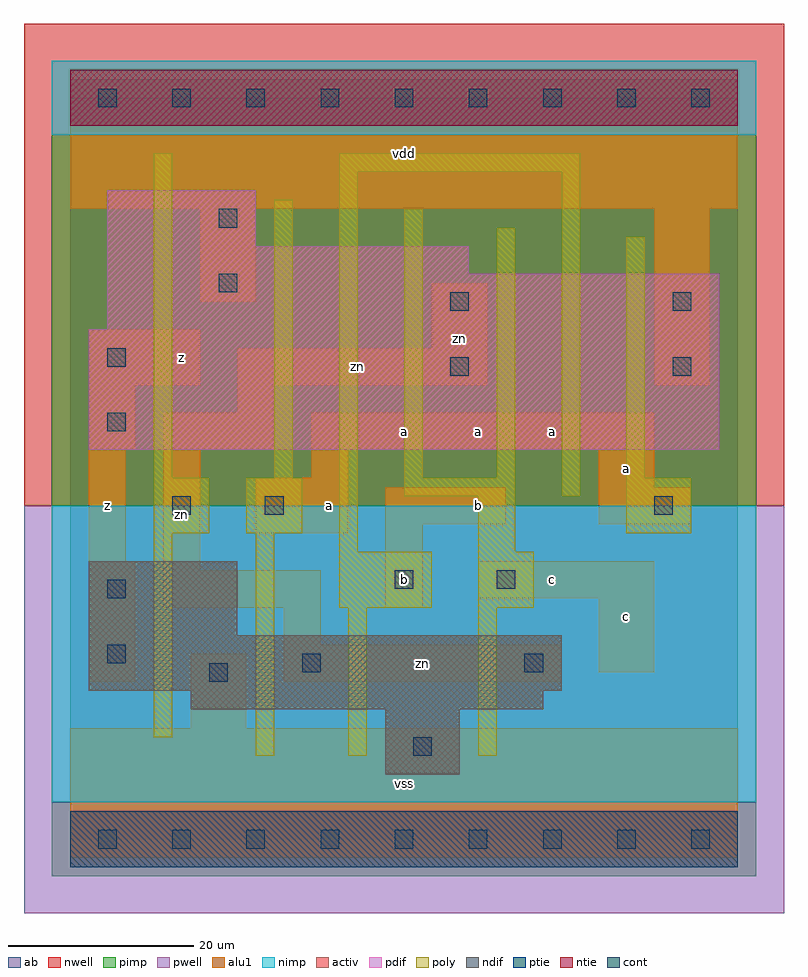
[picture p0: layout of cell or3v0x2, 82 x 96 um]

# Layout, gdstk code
import gdstk
lib = gdstk.Library(unit=1e-6, precision=1e-09)
def R(c, l, rs):  # rectangles x0, y0, x1, y1
    for r in rs: c.add(gdstk.rectangle(r[:2], r[2:], *l))
def A(c, l, x, y, w, h, nx, ny, dx, dy):  # array of equal rectangles
    R(c, l, [(x+i*dx, y+j*dy, x+i*dx+w, y+j*dy+h) for i in range(nx) for j in range(ny)])
ndif = (3, 0)
pdif = (4, 0)
ntie = (5, 0)
ptie = (6, 0)
cont = (25, 0)
pwell = (41, 0)
nwell = (42, 0)
activ = (43, 0)
pimp = (44, 0)
nimp = (45, 0)
poly = (46, 0)
alu1 = (49, 0)
ab = (63, 0)

or3v0x2 = lib.new_cell('or3v0x2')
R(or3v0x2, ndif, [(34,7,42,14), (13,14,51,16), (2,16,53,22), (2,22,18,30)])
R(or3v0x2, pdif, [(2,42,70,55), (4,55,70,61), (4,61,43,64), (4,64,20,70)])
R(or3v0x2, ntie, [(0,77,72,83)])
R(or3v0x2, ptie, [(0,-3,72,3)])
A(or3v0x2, cont, 3, -1, 2, 2, 9, 2, 8, 80)
R(or3v0x2, cont, [(37,9,39,11), (15,17,17,19), (25,18,27,20), (49,18,51,20), (4,19,6,21), (4,26,6,28), (35,27,37,29), (46,27,48,29), (11,35,13,37), (21,35,23,37), (63,35,65,37), (4,44,6,46), (41,50,43,52), (65,50,67,52), (4,51,6,53), (41,57,43,59), (65,57,67,59), (16,59,18,61), (16,66,18,68)])
R(or3v0x2, pwell, [(-5,-8,77,36)])
R(or3v0x2, nwell, [(-5,36,77,88)])
R(or3v0x2, activ, [(0,-3,72,3), (34,7,42,14), (13,14,51,16), (2,16,53,22), (2,22,18,30), (2,42,70,55), (4,55,70,61), (4,61,43,64), (4,64,20,70), (0,77,72,83)])
R(or3v0x2, pimp, [(-2,-4,74,4), (-2,36,74,76)])
R(or3v0x2, nimp, [(-2,4,74,36), (-2,76,74,84)])
R(or3v0x2, poly, [(20,9,22,33), (30,9,32,25), (44,9,46,25), (9,11,11,33), (29,25,39,31), (44,25,50,31), (29,31,31,72), (44,31,48,37), (9,33,15,39), (19,33,25,39), (60,33,67,39), (36,37,48,39), (53,37,55,72), (9,39,11,74), (22,39,24,69), (36,39,38,68), (46,39,48,66), (60,39,62,65), (29,72,55,74)])
R(or3v0x2, alu1, [(0,-2,72,12), (13,12,19,20), (2,17,7,30), (23,17,53,21), (57,18,63,26), (23,21,27,25), (10,25,27,29), (34,25,38,34), (44,26,63,30), (10,29,14,42), (2,30,6,42), (20,33,30,39), (34,34,47,38), (57,34,67,38), (57,38,63,42), (26,39,30,42), (2,42,7,49), (10,42,22,46), (26,42,63,46), (18,46,22,49), (2,49,14,55), (18,49,45,53), (63,49,69,68), (39,53,45,60), (14,58,20,68), (0,68,72,82)])
R(or3v0x2, ab, [(0,0,72,80)])
or3v0x2.add(gdstk.Label('zn', (12,35), layer=49, texttype=0))
or3v0x2.add(gdstk.Label('zn', (38,19), layer=49, texttype=0))
or3v0x2.add(gdstk.Label('zn', (31,51), layer=49, texttype=0))
or3v0x2.add(gdstk.Label('zn', (42,54), layer=49, texttype=0))
or3v0x2.add(gdstk.Label('z', (4,36), layer=49, texttype=0))
or3v0x2.add(gdstk.Label('z', (12,52), layer=49, texttype=0))
or3v0x2.add(gdstk.Label('a', (28,36), layer=49, texttype=0))
or3v0x2.add(gdstk.Label('vss', (36,6), layer=49, texttype=0))
or3v0x2.add(gdstk.Label('b', (36,28), layer=49, texttype=0))
or3v0x2.add(gdstk.Label('b', (44,36), layer=49, texttype=0))
or3v0x2.add(gdstk.Label('c', (52,28), layer=49, texttype=0))
or3v0x2.add(gdstk.Label('a', (44,44), layer=49, texttype=0))
or3v0x2.add(gdstk.Label('a', (52,44), layer=49, texttype=0))
or3v0x2.add(gdstk.Label('a', (36,44), layer=49, texttype=0))
or3v0x2.add(gdstk.Label('vdd', (36,74), layer=49, texttype=0))
or3v0x2.add(gdstk.Label('c', (60,24), layer=49, texttype=0))
or3v0x2.add(gdstk.Label('a', (60,40), layer=49, texttype=0))

lib.write_gds('or3v0x2.gds')
